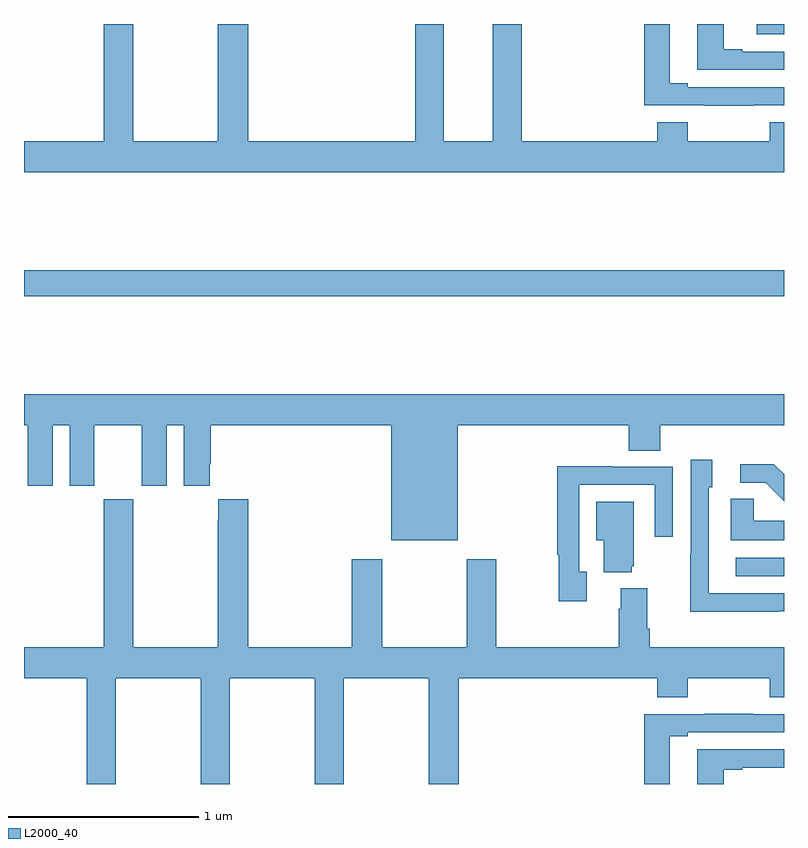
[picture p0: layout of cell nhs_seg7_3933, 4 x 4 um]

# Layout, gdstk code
import gdstk
lib = gdstk.Library(unit=1e-6, precision=1e-09)
def R(c, l, rs):  # rectangles x0, y0, x1, y1
    for r in rs: c.add(gdstk.rectangle(r[:2], r[2:], *l))
def P(c, l, *ps):  # polygons
    for p in ps: c.add(gdstk.Polygon(p, *l))
L2000_40 = (2000, 40)

nhs_seg7_3933 = lib.new_cell('nhs_seg7_3933')
R(nhs_seg7_3933, L2000_40, [(362.745,1061.094,363,1061.19), (359,1062.568,363,1062.704), (362.856,1063.946,363,1064)])
P(nhs_seg7_3933, L2000_40, [(363,1063.854),(362.779,1063.854),(362.779,1063.867),(362.683,1063.867),(362.683,1064),(362.543,1064),(362.543,1063.758),(363,1063.758)],
  [(363,1063.483),(362.926,1063.483),(362.926,1063.384),(362.493,1063.384),(362.493,1063.483),(362.333,1063.483),(362.333,1063.384),(361.619,1063.384),(361.619,1064),(361.466,1064),(361.466,1063.384),(361.21,1063.384),(361.21,1064),(361.058,1064),(361.058,1063.384),(360.179,1063.384),(360.179,1064),(360.019,1064),(360.019,1063.384),(359.574,1063.384),(359.574,1064),(359.419,1064),(359.419,1063.384),(359,1063.384),(359,1063.22),(363,1063.22)],
  [(362.837,1063.572),(363,1063.572),(363,1063.668),(362.494,1063.668),(362.494,1063.688),(362.398,1063.688),(362.398,1064),(362.264,1064),(362.264,1063.572),(362.581,1063.572),(362.581,1063.571),(362.837,1063.571)],
  [(361.282,1061.888),(362.183,1061.888),(362.183,1061.755),(362.348,1061.755),(362.348,1061.888),(363,1061.888),(363,1062.052),(359,1062.052),(359,1061.888),(359.021,1061.888),(359.021,1061.571),(359.152,1061.571),(359.152,1061.888),(359.24,1061.888),(359.24,1061.571),(359.371,1061.571),(359.371,1061.888),(359.621,1061.888),(359.621,1061.571),(359.752,1061.571),(359.752,1061.888),(359.84,1061.888),(359.84,1061.571),(359.977,1061.571),(359.977,1061.683),(359.984,1061.683),(359.984,1061.888),(360.932,1061.888),(360.932,1061.282),(361.282,1061.282)],
  [(362.969,1060.908),(363,1060.908),(363,1061.004),(362.604,1061.004),(362.604,1061.562),(362.623,1061.562),(362.623,1061.707),(362.508,1061.707),(362.508,1061.213),(362.506,1061.213),(362.506,1060.907),(362.969,1060.907)],
  [(363,1061.631),(362.947,1061.684),(362.769,1061.684),(362.769,1061.586),(362.903,1061.586),(363,1061.489)],
  [(361.963,1061.118),(361.923,1061.118),(361.923,1061.574),(362.319,1061.574),(362.319,1061.301),(362.415,1061.301),(362.415,1061.67),(362.099,1061.67),(362.099,1061.672),(361.807,1061.672),(361.807,1061.206),(361.815,1061.206),(361.815,1060.962),(361.963,1060.962)],
  [(363,1061.386),(362.841,1061.386),(362.841,1061.501),(362.72,1061.501),(362.72,1061.282),(363,1061.282)],
  [(359.484,1060.556),(359.929,1060.556),(359.929,1060),(360.084,1060),(360.084,1060.556),(360.529,1060.556),(360.529,1060),(360.684,1060),(360.684,1060.556),(361.129,1060.556),(361.129,1060),(361.289,1060),(361.289,1060.556),(362.333,1060.556),(362.333,1060.457),(362.493,1060.457),(362.493,1060.556),(362.926,1060.556),(362.926,1060.457),(363,1060.457),(363,1060.72),(362.294,1060.72),(362.294,1060.816),(362.281,1060.816),(362.281,1061.029),(362.141,1061.029),(362.141,1060.922),(362.129,1060.922),(362.129,1060.72),(361.485,1060.72),(361.485,1061.182),(361.33,1061.182),(361.33,1060.72),(360.885,1060.72),(360.885,1061.182),(360.725,1061.182),(360.725,1060.72),(360.179,1060.72),(360.179,1061.5),(360.023,1061.5),(360.023,1061.387),(360.019,1061.387),(360.019,1060.72),(359.574,1060.72),(359.574,1061.5),(359.419,1061.5),(359.419,1060.72),(359,1060.72),(359,1060.556),(359.329,1060.556),(359.329,1060),(359.484,1060)],
  [(362.198,1061.145),(362.209,1061.145),(362.209,1061.485),(362.012,1061.485),(362.012,1061.282),(362.051,1061.282),(362.051,1061.114),(362.198,1061.114)],
  [(362.398,1060.252),(362.494,1060.252),(362.494,1060.272),(363,1060.272),(363,1060.368),(362.837,1060.368),(362.837,1060.37),(362.581,1060.37),(362.581,1060.368),(362.264,1060.368),(362.264,1060),(362.398,1060)],
  [(362.683,1060.074),(362.779,1060.074),(362.779,1060.086),(363,1060.086),(363,1060.182),(362.543,1060.182),(362.543,1060),(362.683,1060)])

lib.write_gds('nhs_seg7_3933.gds')
